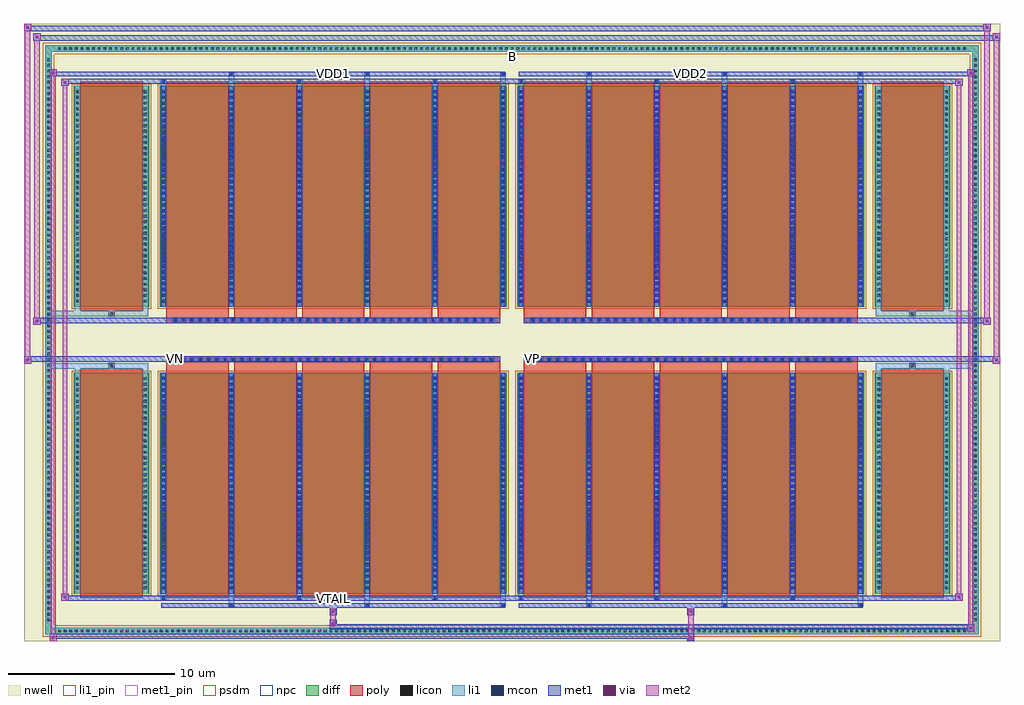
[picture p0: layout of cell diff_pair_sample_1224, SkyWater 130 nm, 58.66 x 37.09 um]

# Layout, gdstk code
import gdstk
lib = gdstk.Library(unit=1e-6, precision=5e-09)
def R(c, l, rs):  # rectangles x0, y0, x1, y1
    for r in rs: c.add(gdstk.rectangle(r[:2], r[2:], *l))
def A(c, l, x, y, w, h, nx, ny, dx, dy):  # array of equal rectangles
    R(c, l, [(x+i*dx, y+j*dy, x+i*dx+w, y+j*dy+h) for i in range(nx) for j in range(ny)])
def P(c, l, *ps):  # polygons
    for p in ps: c.add(gdstk.Polygon(p, *l))
nwell = (64, 20)
diff = (65, 20)
poly = (66, 20)
licon = (66, 44)
li1_pin = (67, 16)
li1 = (67, 20)
mcon = (67, 44)
met1_pin = (68, 16)
met1 = (68, 20)
via = (68, 44)
met2 = (69, 20)
psdm = (94, 20)
npc = (95, 20)

diff_pair_sample_1224 = lib.new_cell('diff_pair_sample_1224')
R(diff_pair_sample_1224, nwell, [(-29.33,-18.11,29.33,18.98), (-26.65,-16.3,-0.01,-0.8), (0.01,-16.3,26.65,-0.8), (-26.65,0.8,-0.01,16.3), (0.01,0.8,26.65,16.3)])
A(diff_pair_sample_1224, diff, -27.405, -17.71, 0.41, 0.41, 161, 2, 0.34, 35.01)
A(diff_pair_sample_1224, diff, -28.06, -17.035, 0.41, 0.41, 1, 100, 0, 0.34)
A(diff_pair_sample_1224, diff, 27.65, -17.035, 0.41, 0.41, 1, 100, 0, 0.34)
R(diff_pair_sample_1224, diff, [(-27.405,-17.71,27.405,-17.3), (-28.06,-17.035,-27.65,17.035), (27.65,-17.035,28.06,17.035), (-26.34,-15.255,-21.81,-1.985), (-21.17,-15.255,-0.32,-1.985), (0.32,-15.255,21.17,-1.985), (21.81,-15.255,26.34,-1.985), (-26.34,1.985,-21.81,15.255), (-21.17,1.985,-0.32,15.255), (0.32,1.985,21.17,15.255), (21.81,1.985,26.34,15.255), (-27.405,17.3,27.405,17.71)])
P(diff_pair_sample_1224, diff, [(28.06,17.71),(-28.06,17.71),(-28.06,-17.3),(-27.65,-17.3),(-27.65,17.3),(27.65,17.3),(27.65,-17.3),(-27.65,-17.3),(-28.06,-17.3),(-28.06,-17.71),(28.06,-17.71)])
A(diff_pair_sample_1224, poly, -20.78, -15.505, 3.75, 13.77, 5, 2, 4.08, 17.24)
A(diff_pair_sample_1224, poly, 0.71, -15.505, 3.75, 13.77, 5, 2, 4.08, 17.24)
A(diff_pair_sample_1224, poly, -20.78, -1.735, 3.75, 0.405, 5, 2, 4.08, 3.065)
A(diff_pair_sample_1224, poly, 0.71, -1.735, 3.75, 0.405, 5, 2, 4.08, 3.065)
A(diff_pair_sample_1224, poly, -20.41, -1.33, 0.33, 0.33, 39, 2, 0.5, 2.33)
A(diff_pair_sample_1224, poly, 1.08, -1.33, 0.33, 0.33, 39, 2, 0.5, 2.33)
R(diff_pair_sample_1224, poly, [(-25.95,-15.505,-22.2,-1.735), (22.2,-15.505,25.95,-1.735), (-24.24,-1.735,-23.91,-1.405), (-24.24,-1.735,-23.91,-1.405), (23.91,-1.735,24.24,-1.405), (23.91,-1.735,24.24,-1.405), (-20.78,-1.33,-0.71,-1), (0.71,-1.33,20.78,-1), (-20.78,1,-0.71,1.33), (0.71,1,20.78,1.33), (-24.24,1.405,-23.91,1.735), (-24.24,1.405,-23.91,1.735), (23.91,1.405,24.24,1.735), (23.91,1.405,24.24,1.735), (-25.95,1.735,-22.2,15.505), (22.2,1.735,25.95,15.505)])
A(diff_pair_sample_1224, licon, -27.285, -17.59, 0.17, 0.17, 161, 2, 0.34, 35.01)
A(diff_pair_sample_1224, licon, -27.94, -16.915, 0.17, 0.17, 1, 100, 0, 0.34)
A(diff_pair_sample_1224, licon, 27.77, -16.915, 0.17, 0.17, 1, 100, 0, 0.34)
A(diff_pair_sample_1224, licon, -26.2, -14.995, 0.17, 0.17, 1, 38, 0, 0.34)
A(diff_pair_sample_1224, licon, -22.12, -14.995, 0.17, 0.17, 1, 38, 0, 0.34)
A(diff_pair_sample_1224, licon, -21.03, -14.995, 0.17, 0.17, 6, 38, 4.08, 0.34)
A(diff_pair_sample_1224, licon, 0.46, -14.995, 0.17, 0.17, 6, 38, 4.08, 0.34)
A(diff_pair_sample_1224, licon, 21.95, -14.995, 0.17, 0.17, 1, 38, 0, 0.34)
A(diff_pair_sample_1224, licon, 26.03, -14.995, 0.17, 0.17, 1, 38, 0, 0.34)
A(diff_pair_sample_1224, licon, -20.33, -1.25, 0.17, 0.17, 39, 2, 0.5, 2.33)
A(diff_pair_sample_1224, licon, 1.16, -1.25, 0.17, 0.17, 39, 2, 0.5, 2.33)
A(diff_pair_sample_1224, licon, -26.2, 2.245, 0.17, 0.17, 1, 38, 0, 0.34)
A(diff_pair_sample_1224, licon, -22.12, 2.245, 0.17, 0.17, 1, 38, 0, 0.34)
A(diff_pair_sample_1224, licon, -21.03, 2.245, 0.17, 0.17, 6, 38, 4.08, 0.34)
A(diff_pair_sample_1224, licon, 0.46, 2.245, 0.17, 0.17, 6, 38, 4.08, 0.34)
A(diff_pair_sample_1224, licon, 21.95, 2.245, 0.17, 0.17, 1, 38, 0, 0.34)
A(diff_pair_sample_1224, licon, 26.03, 2.245, 0.17, 0.17, 1, 38, 0, 0.34)
R(diff_pair_sample_1224, licon, [(-24.16,-1.655,-23.99,-1.485), (23.99,-1.655,24.16,-1.485), (-24.16,1.485,-23.99,1.655), (23.99,1.485,24.16,1.655)])
R(diff_pair_sample_1224, li1_pin, [(-0.25,16.8,0.25,17.3)])
A(diff_pair_sample_1224, li1, -27.365, -17.67, 0.33, 0.33, 161, 2, 0.34, 35.01)
A(diff_pair_sample_1224, li1, -28.02, -16.995, 0.33, 0.33, 1, 100, 0, 0.34)
A(diff_pair_sample_1224, li1, 27.69, -16.995, 0.33, 0.33, 1, 100, 0, 0.34)
A(diff_pair_sample_1224, li1, -17.03, -16.06, 0.33, 0.805, 3, 2, 8.16, 31.315)
A(diff_pair_sample_1224, li1, -16.95, -16.06, 0.17, 0.17, 3, 2, 8.16, 31.95)
A(diff_pair_sample_1224, li1, 4.46, -16.06, 0.33, 0.805, 3, 2, 8.16, 31.315)
A(diff_pair_sample_1224, li1, 4.54, -16.06, 0.17, 0.17, 3, 2, 8.16, 31.95)
A(diff_pair_sample_1224, li1, -21.11, -15.63, 0.33, 0.375, 3, 2, 8.16, 30.885)
A(diff_pair_sample_1224, li1, -21.03, -15.63, 0.17, 0.17, 3, 2, 8.16, 31.09)
A(diff_pair_sample_1224, li1, 0.38, -15.63, 0.33, 0.375, 3, 2, 8.16, 30.885)
A(diff_pair_sample_1224, li1, 0.46, -15.63, 0.17, 0.17, 3, 2, 8.16, 31.09)
A(diff_pair_sample_1224, li1, -21.11, -15.255, 0.33, 13.27, 6, 2, 4.08, 17.24)
A(diff_pair_sample_1224, li1, 0.38, -15.255, 0.33, 13.27, 6, 2, 4.08, 17.24)
A(diff_pair_sample_1224, li1, -26.28, -15.075, 0.33, 0.33, 1, 38, 0, 0.34)
A(diff_pair_sample_1224, li1, -22.2, -15.075, 0.33, 0.33, 1, 38, 0, 0.34)
A(diff_pair_sample_1224, li1, -21.11, -15.075, 0.33, 0.33, 6, 38, 4.08, 0.34)
A(diff_pair_sample_1224, li1, 0.38, -15.075, 0.33, 0.33, 6, 38, 4.08, 0.34)
A(diff_pair_sample_1224, li1, 21.87, -15.075, 0.33, 0.33, 1, 38, 0, 0.34)
A(diff_pair_sample_1224, li1, 25.95, -15.075, 0.33, 0.33, 1, 38, 0, 0.34)
A(diff_pair_sample_1224, li1, -21.03, -15.005, 0.17, 0.17, 6, 36, 4.08, 0.36)
A(diff_pair_sample_1224, li1, -21.03, -15.005, 0.17, 12.77, 6, 2, 4.08, 17.24)
A(diff_pair_sample_1224, li1, 0.46, -15.005, 0.17, 0.17, 6, 36, 4.08, 0.36)
A(diff_pair_sample_1224, li1, 0.46, -15.005, 0.17, 12.77, 6, 2, 4.08, 17.24)
A(diff_pair_sample_1224, li1, -20.41, -1.33, 0.33, 0.33, 39, 2, 0.5, 2.33)
A(diff_pair_sample_1224, li1, 1.08, -1.33, 0.33, 0.33, 39, 2, 0.5, 2.33)
A(diff_pair_sample_1224, li1, -26.28, 2.165, 0.33, 0.33, 1, 38, 0, 0.34)
A(diff_pair_sample_1224, li1, -22.2, 2.165, 0.33, 0.33, 1, 38, 0, 0.34)
A(diff_pair_sample_1224, li1, -21.11, 2.165, 0.33, 0.33, 6, 38, 4.08, 0.34)
A(diff_pair_sample_1224, li1, 0.38, 2.165, 0.33, 0.33, 6, 38, 4.08, 0.34)
A(diff_pair_sample_1224, li1, 21.87, 2.165, 0.33, 0.33, 1, 38, 0, 0.34)
A(diff_pair_sample_1224, li1, 25.95, 2.165, 0.33, 0.33, 1, 38, 0, 0.34)
A(diff_pair_sample_1224, li1, -21.03, 2.235, 0.17, 0.17, 6, 36, 4.08, 0.36)
A(diff_pair_sample_1224, li1, 0.46, 2.235, 0.17, 0.17, 6, 36, 4.08, 0.36)
R(diff_pair_sample_1224, li1, [(-28.06,-17.71,-27.65,-17.3), (-28.06,-17.71,-27.65,-17.3), (-27.65,-17.71,27.65,-17.3), (27.65,-17.71,28.06,-17.3), (27.65,-17.71,28.06,-17.3), (-28.06,-17.3,-27.65,17.3), (27.65,-17.3,28.06,17.3), (-26.28,-15.255,-25.95,-1.985), (-22.2,-15.255,-21.87,-1.985), (21.87,-15.255,22.2,-1.985), (25.95,-15.255,26.28,-1.985), (-26.28,-1.985,-25.95,-1.405), (-22.2,-1.985,-21.87,-1.405), (21.87,-1.985,22.2,-1.405), (25.95,-1.985,26.28,-1.405), (-28.06,-1.735,-24.24,-1.405), (-26.28,-1.735,-24.24,-1.405), (-24.24,-1.735,-23.91,-1.405), (-23.91,-1.735,-21.87,-1.405), (21.87,-1.735,23.91,-1.405), (23.91,-1.735,24.24,-1.405), (23.91,-1.735,28.06,-1.405), (24.24,-1.735,26.28,-1.405), (-28.06,1.405,-24.24,1.735), (-26.28,1.405,-24.24,1.735), (-26.28,1.405,-25.95,1.985), (-24.24,1.405,-23.91,1.735), (-23.91,1.405,-21.87,1.735), (-22.2,1.405,-21.87,1.985), (21.87,1.405,23.91,1.735), (21.87,1.405,22.2,1.985), (23.91,1.405,24.24,1.735), (23.91,1.405,28.06,1.735), (24.24,1.405,26.28,1.735), (25.95,1.405,26.28,1.985), (-26.28,1.985,-25.95,15.255), (-22.2,1.985,-21.87,15.255), (21.87,1.985,22.2,15.255), (25.95,1.985,26.28,15.255), (-28.06,17.3,-27.65,17.71), (-28.06,17.3,-27.65,17.71), (-27.65,17.3,27.65,17.71), (27.65,17.3,28.06,17.71), (27.65,17.3,28.06,17.71)])
A(diff_pair_sample_1224, mcon, -16.95, -16.06, 0.17, 0.17, 3, 2, 8.16, 31.95)
A(diff_pair_sample_1224, mcon, 4.54, -16.06, 0.17, 0.17, 3, 2, 8.16, 31.95)
A(diff_pair_sample_1224, mcon, -21.03, -15.63, 0.17, 0.17, 3, 2, 8.16, 31.09)
A(diff_pair_sample_1224, mcon, 0.46, -15.63, 0.17, 0.17, 3, 2, 8.16, 31.09)
A(diff_pair_sample_1224, mcon, -21.03, -15.005, 0.17, 0.17, 6, 36, 4.08, 0.36)
A(diff_pair_sample_1224, mcon, 0.46, -15.005, 0.17, 0.17, 6, 36, 4.08, 0.36)
A(diff_pair_sample_1224, mcon, -20.33, -1.25, 0.17, 0.17, 39, 2, 0.5, 2.33)
A(diff_pair_sample_1224, mcon, 1.16, -1.25, 0.17, 0.17, 39, 2, 0.5, 2.33)
A(diff_pair_sample_1224, mcon, -21.03, 2.235, 0.17, 0.17, 6, 36, 4.08, 0.36)
A(diff_pair_sample_1224, mcon, 0.46, 2.235, 0.17, 0.17, 6, 36, 4.08, 0.36)
R(diff_pair_sample_1224, met1_pin, [(-10.88,-15.67,-10.61,-15.4), (-20.38,-1.29,-20.11,-1.02), (1.11,-1.29,1.38,-1.02), (-10.88,15.85,-10.61,16.12), (10.61,15.85,10.88,16.12)])
A(diff_pair_sample_1224, met1, -17.01, -16.12, 0.29, 0.29, 3, 2, 8.16, 31.95)
A(diff_pair_sample_1224, met1, 4.48, -16.12, 0.29, 0.29, 3, 2, 8.16, 31.95)
A(diff_pair_sample_1224, met1, -21.09, -15.69, 0.29, 0.29, 3, 2, 8.16, 31.09)
A(diff_pair_sample_1224, met1, 0.4, -15.69, 0.29, 0.29, 3, 2, 8.16, 31.09)
A(diff_pair_sample_1224, met1, -21.09, -15.255, 0.29, 13.27, 6, 2, 4.08, 17.24)
A(diff_pair_sample_1224, met1, 0.4, -15.255, 0.29, 13.27, 6, 2, 4.08, 17.24)
A(diff_pair_sample_1224, met1, -21.09, -15.065, 0.29, 0.29, 6, 36, 4.08, 0.36)
A(diff_pair_sample_1224, met1, 0.4, -15.065, 0.29, 0.29, 6, 36, 4.08, 0.36)
A(diff_pair_sample_1224, met1, -20.39, -1.31, 0.29, 0.29, 39, 2, 0.5, 2.33)
A(diff_pair_sample_1224, met1, 1.1, -1.31, 0.29, 0.29, 39, 2, 0.5, 2.33)
A(diff_pair_sample_1224, met1, -21.09, 2.175, 0.29, 0.29, 6, 36, 4.08, 0.36)
A(diff_pair_sample_1224, met1, 0.4, 2.175, 0.29, 0.29, 6, 36, 4.08, 0.36)
R(diff_pair_sample_1224, met1, [(-27.79,-18.11,-27.36,-17.68), (10.53,-18.11,10.96,-17.68), (-27.79,-17.97,10.96,-17.68), (27.36,-17.54,27.79,-17.11), (-10.96,-17.4,27.79,-17.11), (-10.96,-17.26,-10.53,-16.83), (-10.96,-16.55,-10.53,-16.12), (10.53,-16.55,10.96,-16.12), (-21.09,-16.12,-0.4,-15.83), (0.4,-16.12,21.09,-15.83), (-27.08,-15.69,-26.65,-15.26), (-27.08,-15.69,-21.09,-15.4), (-21.09,-15.69,-0.4,-15.4), (-0.4,-15.69,0.4,-15.4), (0.4,-15.69,21.09,-15.4), (21.09,-15.69,27.08,-15.4), (26.65,-15.69,27.08,-15.26), (-29.33,-1.43,-28.9,-1), (28.9,-1.43,29.33,-1), (-29.33,-1.33,-0.71,-1), (-20.78,-1.33,-0.71,-1), (0.71,-1.33,20.78,-1), (0.71,-1.33,29.33,-1), (-28.76,0.9,-28.33,1.33), (28.33,0.9,28.76,1.33), (-28.76,1,-20.78,1.33), (-20.78,1,-0.71,1.33), (0.71,1,20.78,1.33), (20.78,1,28.76,1.33), (-27.08,15.26,-26.65,15.69), (26.65,15.26,27.08,15.69), (-27.08,15.4,-21.09,15.69), (-21.09,15.4,-0.4,15.69), (-0.4,15.4,0.4,15.69), (0.4,15.4,21.09,15.69), (21.09,15.4,27.08,15.69), (-27.79,15.83,-27.36,16.26), (-27.79,15.83,-21.09,16.12), (-21.09,15.83,-0.4,16.12), (0.4,15.83,21.09,16.12), (21.09,15.83,27.79,16.12), (27.36,15.83,27.79,16.26), (-28.76,17.98,-28.33,18.41), (-28.76,17.98,-26.65,18.31), (-26.65,17.98,26.65,18.31), (26.65,17.98,29.33,18.31), (28.9,17.98,29.33,18.41), (-29.33,18.55,-28.9,18.98), (-29.33,18.55,-26.65,18.88), (-26.65,18.55,26.65,18.88), (26.65,18.55,28.76,18.88), (28.33,18.55,28.76,18.98)])
R(diff_pair_sample_1224, via, [(-27.65,-17.97,-27.5,-17.82), (10.67,-17.97,10.82,-17.82), (27.5,-17.4,27.65,-17.25), (-10.82,-17.12,-10.67,-16.97), (-10.82,-16.41,-10.67,-16.26), (10.67,-16.41,10.82,-16.26), (-26.94,-15.55,-26.79,-15.4), (26.79,-15.55,26.94,-15.4), (-29.19,-1.29,-29.04,-1.14), (29.04,-1.29,29.19,-1.14), (-28.62,1.04,-28.47,1.19), (28.47,1.04,28.62,1.19), (-26.94,15.4,-26.79,15.55), (26.79,15.4,26.94,15.55), (-27.65,15.97,-27.5,16.12), (27.5,15.97,27.65,16.12), (-28.62,18.12,-28.47,18.27), (29.04,18.12,29.19,18.27), (-29.19,18.69,-29.04,18.84), (28.47,18.69,28.62,18.84)])
R(diff_pair_sample_1224, met2, [(-27.79,-18.11,-27.36,-17.68), (-27.72,-18.11,-27.43,16.26), (-27.43,-18.11,-27.36,-17.68), (-27.74,-18.06,-27.41,-17.73), (10.58,-18.06,10.91,-17.73), (10.58,-17.73,10.91,-16.5), (27.36,-17.54,27.79,-17.11), (27.43,-17.54,27.72,16.26), (27.72,-17.54,27.79,-17.11), (27.41,-17.49,27.74,-17.16), (-10.91,-17.21,-10.58,-16.88), (-10.91,-16.88,-10.58,-16.5), (-10.91,-16.5,-10.58,-16.17), (10.58,-16.5,10.91,-16.17), (-27.08,-15.69,-26.65,-15.26), (-27.01,-15.69,-26.72,15.69), (-26.72,-15.69,-26.65,-15.26), (26.65,-15.69,27.08,-15.26), (26.72,-15.69,27.01,15.69), (27.01,-15.69,27.08,-15.26), (-27.03,-15.64,-26.7,-15.31), (26.7,-15.64,27.03,-15.31), (-29.33,-1.43,-28.9,-1), (-29.28,-1.43,-28.95,18.98), (-28.95,-1.43,-28.9,-1), (28.9,-1.43,29.33,-1), (28.95,-1.43,29.28,18.41), (29.28,-1.43,29.33,-1), (-29.28,-1.38,-28.95,-1.05), (28.95,-1.38,29.28,-1.05), (-28.76,0.9,-28.33,1.33), (-28.71,0.9,-28.38,18.41), (-28.38,0.9,-28.33,1.33), (28.33,0.9,28.76,1.33), (28.38,0.9,28.71,18.98), (28.71,0.9,28.76,1.33), (-28.71,0.95,-28.38,1.28), (28.38,0.95,28.71,1.28), (-27.08,15.26,-26.65,15.69), (-26.72,15.26,-26.65,15.69), (26.65,15.26,27.08,15.69), (27.01,15.26,27.08,15.69), (-27.03,15.31,-26.7,15.64), (26.7,15.31,27.03,15.64), (-27.79,15.83,-27.36,16.26), (-27.43,15.83,-27.36,16.26), (27.36,15.83,27.79,16.26), (27.72,15.83,27.79,16.26), (-27.74,15.88,-27.41,16.21), (27.41,15.88,27.74,16.21), (-28.76,17.98,-28.33,18.41), (-28.38,17.98,-28.33,18.41), (28.9,17.98,29.33,18.41), (29.28,17.98,29.33,18.41), (-28.71,18.03,-28.38,18.36), (28.95,18.03,29.28,18.36), (-29.33,18.55,-28.9,18.98), (-28.95,18.55,-28.9,18.98), (28.33,18.55,28.76,18.98), (28.71,18.55,28.76,18.98), (-29.28,18.6,-28.95,18.93), (28.38,18.6,28.71,18.93)])
R(diff_pair_sample_1224, psdm, [(-26.47,-15.385,-21.68,-1.855), (-21.3,-15.385,-0.19,-1.855), (0.19,-15.385,21.3,-1.855), (21.68,-15.385,26.47,-1.855), (-26.47,1.855,-21.68,15.385), (-21.3,1.855,-0.19,15.385), (0.19,1.855,21.3,15.385), (21.68,1.855,26.47,15.385)])
P(diff_pair_sample_1224, psdm, [(28.19,17.84),(-28.19,17.84),(-28.19,-17.17),(-27.52,-17.17),(-27.52,17.17),(27.52,17.17),(27.52,-17.17),(-27.52,-17.17),(-28.19,-17.17),(-28.19,-17.84),(28.19,-17.84)])
A(diff_pair_sample_1224, npc, -20.43, -1.35, 0.37, 0.37, 39, 2, 0.5, 2.33)
A(diff_pair_sample_1224, npc, 1.06, -1.35, 0.37, 0.37, 39, 2, 0.5, 2.33)
R(diff_pair_sample_1224, npc, [(-24.26,-1.755,-23.89,-1.385), (23.89,-1.755,24.26,-1.385), (-20.43,-1.35,-19.56,-0.98), (-20.43,-1.35,-19.56,-0.98), (-19.93,-1.35,-19.06,-0.98), (-19.93,-1.35,-19.06,-0.98), (-19.43,-1.35,-18.56,-0.98), (-19.43,-1.35,-18.56,-0.98), (-18.93,-1.35,-18.06,-0.98), (-18.93,-1.35,-18.06,-0.98), (-18.43,-1.35,-17.56,-0.98), (-18.43,-1.35,-17.56,-0.98), (-17.93,-1.35,-17.06,-0.98), (-17.93,-1.35,-17.06,-0.98), (-17.43,-1.35,-16.56,-0.98), (-17.43,-1.35,-16.56,-0.98), (-16.93,-1.35,-16.06,-0.98), (-16.93,-1.35,-16.06,-0.98), (-16.43,-1.35,-15.56,-0.98), (-16.43,-1.35,-15.56,-0.98), (-15.93,-1.35,-15.06,-0.98), (-15.93,-1.35,-15.06,-0.98), (-15.43,-1.35,-14.56,-0.98), (-15.43,-1.35,-14.56,-0.98), (-14.93,-1.35,-14.06,-0.98), (-14.93,-1.35,-14.06,-0.98), (-14.43,-1.35,-13.56,-0.98), (-14.43,-1.35,-13.56,-0.98), (-13.93,-1.35,-13.06,-0.98), (-13.93,-1.35,-13.06,-0.98), (-13.43,-1.35,-12.56,-0.98), (-13.43,-1.35,-12.56,-0.98), (-12.93,-1.35,-12.06,-0.98), (-12.93,-1.35,-12.06,-0.98), (-12.43,-1.35,-11.56,-0.98), (-12.43,-1.35,-11.56,-0.98), (-11.93,-1.35,-11.06,-0.98), (-11.93,-1.35,-11.06,-0.98), (-11.43,-1.35,-10.56,-0.98), (-11.43,-1.35,-10.56,-0.98), (-10.93,-1.35,-10.06,-0.98), (-10.93,-1.35,-10.06,-0.98), (-10.43,-1.35,-9.56,-0.98), (-10.43,-1.35,-9.56,-0.98), (-9.93,-1.35,-9.06,-0.98), (-9.93,-1.35,-9.06,-0.98), (-9.43,-1.35,-8.56,-0.98), (-9.43,-1.35,-8.56,-0.98), (-8.93,-1.35,-8.06,-0.98), (-8.93,-1.35,-8.06,-0.98), (-8.43,-1.35,-7.56,-0.98), (-8.43,-1.35,-7.56,-0.98), (-7.93,-1.35,-7.06,-0.98), (-7.93,-1.35,-7.06,-0.98), (-7.43,-1.35,-6.56,-0.98), (-7.43,-1.35,-6.56,-0.98), (-6.93,-1.35,-6.06,-0.98), (-6.93,-1.35,-6.06,-0.98), (-6.43,-1.35,-5.56,-0.98), (-6.43,-1.35,-5.56,-0.98), (-5.93,-1.35,-5.06,-0.98), (-5.93,-1.35,-5.06,-0.98), (-5.43,-1.35,-4.56,-0.98), (-5.43,-1.35,-4.56,-0.98), (-4.93,-1.35,-4.06,-0.98), (-4.93,-1.35,-4.06,-0.98), (-4.43,-1.35,-3.56,-0.98), (-4.43,-1.35,-3.56,-0.98), (-3.93,-1.35,-3.06,-0.98), (-3.93,-1.35,-3.06,-0.98), (-3.43,-1.35,-2.56,-0.98), (-3.43,-1.35,-2.56,-0.98), (-2.93,-1.35,-2.06,-0.98), (-2.93,-1.35,-2.06,-0.98), (-2.43,-1.35,-1.56,-0.98), (-2.43,-1.35,-1.56,-0.98), (-1.93,-1.35,-1.06,-0.98), (-1.93,-1.35,-1.06,-0.98), (1.06,-1.35,1.93,-0.98), (1.06,-1.35,1.93,-0.98), (1.56,-1.35,2.43,-0.98), (1.56,-1.35,2.43,-0.98), (2.06,-1.35,2.93,-0.98), (2.06,-1.35,2.93,-0.98), (2.56,-1.35,3.43,-0.98), (2.56,-1.35,3.43,-0.98), (3.06,-1.35,3.93,-0.98), (3.06,-1.35,3.93,-0.98), (3.56,-1.35,4.43,-0.98), (3.56,-1.35,4.43,-0.98), (4.06,-1.35,4.93,-0.98), (4.06,-1.35,4.93,-0.98), (4.56,-1.35,5.43,-0.98), (4.56,-1.35,5.43,-0.98), (5.06,-1.35,5.93,-0.98), (5.06,-1.35,5.93,-0.98), (5.56,-1.35,6.43,-0.98), (5.56,-1.35,6.43,-0.98), (6.06,-1.35,6.93,-0.98), (6.06,-1.35,6.93,-0.98), (6.56,-1.35,7.43,-0.98), (6.56,-1.35,7.43,-0.98), (7.06,-1.35,7.93,-0.98), (7.06,-1.35,7.93,-0.98), (7.56,-1.35,8.43,-0.98), (7.56,-1.35,8.43,-0.98), (8.06,-1.35,8.93,-0.98), (8.06,-1.35,8.93,-0.98), (8.56,-1.35,9.43,-0.98), (8.56,-1.35,9.43,-0.98), (9.06,-1.35,9.93,-0.98), (9.06,-1.35,9.93,-0.98), (9.56,-1.35,10.43,-0.98), (9.56,-1.35,10.43,-0.98), (10.06,-1.35,10.93,-0.98), (10.06,-1.35,10.93,-0.98), (10.56,-1.35,11.43,-0.98), (10.56,-1.35,11.43,-0.98), (11.06,-1.35,11.93,-0.98), (11.06,-1.35,11.93,-0.98), (11.56,-1.35,12.43,-0.98), (11.56,-1.35,12.43,-0.98), (12.06,-1.35,12.93,-0.98), (12.06,-1.35,12.93,-0.98), (12.56,-1.35,13.43,-0.98), (12.56,-1.35,13.43,-0.98), (13.06,-1.35,13.93,-0.98), (13.06,-1.35,13.93,-0.98), (13.56,-1.35,14.43,-0.98), (13.56,-1.35,14.43,-0.98), (14.06,-1.35,14.93,-0.98), (14.06,-1.35,14.93,-0.98), (14.56,-1.35,15.43,-0.98), (14.56,-1.35,15.43,-0.98), (15.06,-1.35,15.93,-0.98), (15.06,-1.35,15.93,-0.98), (15.56,-1.35,16.43,-0.98), (15.56,-1.35,16.43,-0.98), (16.06,-1.35,16.93,-0.98), (16.06,-1.35,16.93,-0.98), (16.56,-1.35,17.43,-0.98), (16.56,-1.35,17.43,-0.98), (17.06,-1.35,17.93,-0.98), (17.06,-1.35,17.93,-0.98), (17.56,-1.35,18.43,-0.98), (17.56,-1.35,18.43,-0.98), (18.06,-1.35,18.93,-0.98), (18.06,-1.35,18.93,-0.98), (18.56,-1.35,19.43,-0.98), (18.56,-1.35,19.43,-0.98), (19.06,-1.35,19.93,-0.98), (19.06,-1.35,19.93,-0.98), (19.56,-1.35,20.43,-0.98), (19.56,-1.35,20.43,-0.98), (-20.43,0.98,-19.56,1.35), (-20.43,0.98,-19.56,1.35), (-19.93,0.98,-19.06,1.35), (-19.93,0.98,-19.06,1.35), (-19.43,0.98,-18.56,1.35), (-19.43,0.98,-18.56,1.35), (-18.93,0.98,-18.06,1.35), (-18.93,0.98,-18.06,1.35), (-18.43,0.98,-17.56,1.35), (-18.43,0.98,-17.56,1.35), (-17.93,0.98,-17.06,1.35), (-17.93,0.98,-17.06,1.35), (-17.43,0.98,-16.56,1.35), (-17.43,0.98,-16.56,1.35), (-16.93,0.98,-16.06,1.35), (-16.93,0.98,-16.06,1.35), (-16.43,0.98,-15.56,1.35), (-16.43,0.98,-15.56,1.35), (-15.93,0.98,-15.06,1.35), (-15.93,0.98,-15.06,1.35), (-15.43,0.98,-14.56,1.35), (-15.43,0.98,-14.56,1.35), (-14.93,0.98,-14.06,1.35), (-14.93,0.98,-14.06,1.35), (-14.43,0.98,-13.56,1.35), (-14.43,0.98,-13.56,1.35), (-13.93,0.98,-13.06,1.35), (-13.93,0.98,-13.06,1.35), (-13.43,0.98,-12.56,1.35), (-13.43,0.98,-12.56,1.35), (-12.93,0.98,-12.06,1.35), (-12.93,0.98,-12.06,1.35), (-12.43,0.98,-11.56,1.35), (-12.43,0.98,-11.56,1.35), (-11.93,0.98,-11.06,1.35), (-11.93,0.98,-11.06,1.35), (-11.43,0.98,-10.56,1.35), (-11.43,0.98,-10.56,1.35), (-10.93,0.98,-10.06,1.35), (-10.93,0.98,-10.06,1.35), (-10.43,0.98,-9.56,1.35), (-10.43,0.98,-9.56,1.35), (-9.93,0.98,-9.06,1.35), (-9.93,0.98,-9.06,1.35), (-9.43,0.98,-8.56,1.35), (-9.43,0.98,-8.56,1.35), (-8.93,0.98,-8.06,1.35), (-8.93,0.98,-8.06,1.35), (-8.43,0.98,-7.56,1.35), (-8.43,0.98,-7.56,1.35), (-7.93,0.98,-7.06,1.35), (-7.93,0.98,-7.06,1.35), (-7.43,0.98,-6.56,1.35), (-7.43,0.98,-6.56,1.35), (-6.93,0.98,-6.06,1.35), (-6.93,0.98,-6.06,1.35), (-6.43,0.98,-5.56,1.35), (-6.43,0.98,-5.56,1.35), (-5.93,0.98,-5.06,1.35), (-5.93,0.98,-5.06,1.35), (-5.43,0.98,-4.56,1.35), (-5.43,0.98,-4.56,1.35), (-4.93,0.98,-4.06,1.35), (-4.93,0.98,-4.06,1.35), (-4.43,0.98,-3.56,1.35), (-4.43,0.98,-3.56,1.35), (-3.93,0.98,-3.06,1.35), (-3.93,0.98,-3.06,1.35), (-3.43,0.98,-2.56,1.35), (-3.43,0.98,-2.56,1.35), (-2.93,0.98,-2.06,1.35), (-2.93,0.98,-2.06,1.35), (-2.43,0.98,-1.56,1.35), (-2.43,0.98,-1.56,1.35), (-1.93,0.98,-1.06,1.35), (-1.93,0.98,-1.06,1.35), (1.06,0.98,1.93,1.35), (1.06,0.98,1.93,1.35), (1.56,0.98,2.43,1.35), (1.56,0.98,2.43,1.35), (2.06,0.98,2.93,1.35), (2.06,0.98,2.93,1.35), (2.56,0.98,3.43,1.35), (2.56,0.98,3.43,1.35), (3.06,0.98,3.93,1.35), (3.06,0.98,3.93,1.35), (3.56,0.98,4.43,1.35), (3.56,0.98,4.43,1.35), (4.06,0.98,4.93,1.35), (4.06,0.98,4.93,1.35), (4.56,0.98,5.43,1.35), (4.56,0.98,5.43,1.35), (5.06,0.98,5.93,1.35), (5.06,0.98,5.93,1.35), (5.56,0.98,6.43,1.35), (5.56,0.98,6.43,1.35), (6.06,0.98,6.93,1.35), (6.06,0.98,6.93,1.35), (6.56,0.98,7.43,1.35), (6.56,0.98,7.43,1.35), (7.06,0.98,7.93,1.35), (7.06,0.98,7.93,1.35), (7.56,0.98,8.43,1.35), (7.56,0.98,8.43,1.35), (8.06,0.98,8.93,1.35), (8.06,0.98,8.93,1.35), (8.56,0.98,9.43,1.35), (8.56,0.98,9.43,1.35), (9.06,0.98,9.93,1.35), (9.06,0.98,9.93,1.35), (9.56,0.98,10.43,1.35), (9.56,0.98,10.43,1.35), (10.06,0.98,10.93,1.35), (10.06,0.98,10.93,1.35), (10.56,0.98,11.43,1.35), (10.56,0.98,11.43,1.35), (11.06,0.98,11.93,1.35), (11.06,0.98,11.93,1.35), (11.56,0.98,12.43,1.35), (11.56,0.98,12.43,1.35), (12.06,0.98,12.93,1.35), (12.06,0.98,12.93,1.35), (12.56,0.98,13.43,1.35), (12.56,0.98,13.43,1.35), (13.06,0.98,13.93,1.35), (13.06,0.98,13.93,1.35), (13.56,0.98,14.43,1.35), (13.56,0.98,14.43,1.35), (14.06,0.98,14.93,1.35), (14.06,0.98,14.93,1.35), (14.56,0.98,15.43,1.35), (14.56,0.98,15.43,1.35), (15.06,0.98,15.93,1.35), (15.06,0.98,15.93,1.35), (15.56,0.98,16.43,1.35), (15.56,0.98,16.43,1.35), (16.06,0.98,16.93,1.35), (16.06,0.98,16.93,1.35), (16.56,0.98,17.43,1.35), (16.56,0.98,17.43,1.35), (17.06,0.98,17.93,1.35), (17.06,0.98,17.93,1.35), (17.56,0.98,18.43,1.35), (17.56,0.98,18.43,1.35), (18.06,0.98,18.93,1.35), (18.06,0.98,18.93,1.35), (18.56,0.98,19.43,1.35), (18.56,0.98,19.43,1.35), (19.06,0.98,19.93,1.35), (19.06,0.98,19.93,1.35), (19.56,0.98,20.43,1.35), (19.56,0.98,20.43,1.35), (-24.26,1.385,-23.89,1.755), (23.89,1.385,24.26,1.755)])
diff_pair_sample_1224.add(gdstk.Label('VTAIL', (-10.745,-15.535), layer=68, texttype=5))
diff_pair_sample_1224.add(gdstk.Label('VN', (-20.245,-1.155), layer=68, texttype=5))
diff_pair_sample_1224.add(gdstk.Label('VP', (1.245,-1.155), layer=68, texttype=5))
diff_pair_sample_1224.add(gdstk.Label('B', (0,17.05), layer=67, texttype=5))
diff_pair_sample_1224.add(gdstk.Label('VDD2', (10.745,15.985), layer=68, texttype=5))
diff_pair_sample_1224.add(gdstk.Label('VDD1', (-10.745,15.985), layer=68, texttype=5))

lib.write_gds('diff_pair_sample_1224.gds')
